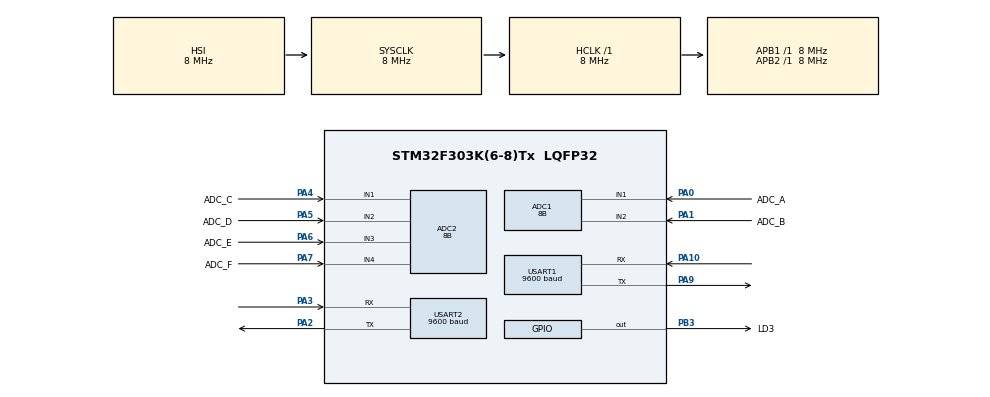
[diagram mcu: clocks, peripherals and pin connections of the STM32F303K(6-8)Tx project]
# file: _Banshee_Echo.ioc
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ADC1.Channel-0\#ChannelRegularConversion=ADC_CHANNEL_1
ADC1.DMAContinuousRequests=ENABLE
ADC1.NbrOfConversionFlag=1
ADC1.Offset-0\#ChannelRegularConversion=0
ADC1.OffsetNumber-0\#ChannelRegularConversion=ADC_OFFSET_NONE
ADC1.Rank-0\#ChannelRegularConversion=1
ADC1.Resolution=ADC_RESOLUTION_8B
ADC1.SamplingTime-0\#ChannelRegularConversion=ADC_SAMPLETIME_1CYCLE_5
ADC1.SubFamily=STM32F303x8
ADC1.master=1
ADC2.Channel-0\#ChannelRegularConversion=ADC_CHANNEL_1
ADC2.DMAContinuousRequests=ENABLE
ADC2.NbrOfConversionFlag=1
ADC2.Offset-0\#ChannelRegularConversion=0
ADC2.OffsetNumber-0\#ChannelRegularConversion=ADC_OFFSET_NONE
ADC2.Rank-0\#ChannelRegularConversion=1
ADC2.Resolution=ADC_RESOLUTION_8B
ADC2.SamplingTime-0\#ChannelRegularConversion=ADC_SAMPLETIME_1CYCLE_5
ADC2.SubFamily=STM32F303x8
Dma.ADC1.2.Direction=DMA_PERIPH_TO_MEMORY
Dma.ADC1.2.Instance=DMA1_Channel1
Dma.ADC1.2.MemDataAlignment=DMA_MDATAALIGN_BYTE
Dma.ADC1.2.MemInc=DMA_MINC_ENABLE
Dma.ADC1.2.Mode=DMA_CIRCULAR
Dma.ADC1.2.PeriphDataAlignment=DMA_PDATAALIGN_BYTE
Dma.ADC1.2.PeriphInc=DMA_PINC_DISABLE
Dma.ADC1.2.Priority=DMA_PRIORITY_LOW
Dma.ADC2.3.Direction=DMA_PERIPH_TO_MEMORY
Dma.ADC2.3.Instance=DMA1_Channel2
Dma.ADC2.3.MemDataAlignment=DMA_MDATAALIGN_HALFWORD
Dma.ADC2.3.MemInc=DMA_MINC_ENABLE
Dma.ADC2.3.Mode=DMA_NORMAL
Dma.ADC2.3.PeriphDataAlignment=DMA_PDATAALIGN_HALFWORD
Dma.ADC2.3.PeriphInc=DMA_PINC_DISABLE
Dma.ADC2.3.Priority=DMA_PRIORITY_LOW
Dma.Request0=USART1_TX
Dma.Request1=USART2_TX
Dma.Request2=ADC1
Dma.Request3=ADC2
Dma.USART1_TX.0.Direction=DMA_MEMORY_TO_PERIPH
Dma.USART1_TX.0.Instance=DMA1_Channel4
Dma.USART1_TX.0.MemDataAlignment=DMA_MDATAALIGN_BYTE
Dma.USART1_TX.0.MemInc=DMA_MINC_ENABLE
Dma.USART1_TX.0.Mode=DMA_CIRCULAR
Dma.USART1_TX.0.PeriphDataAlignment=DMA_PDATAALIGN_BYTE
Dma.USART1_TX.0.PeriphInc=DMA_PINC_DISABLE
Dma.USART1_TX.0.Priority=DMA_PRIORITY_LOW
Dma.USART2_TX.1.Direction=DMA_MEMORY_TO_PERIPH
Dma.USART2_TX.1.Instance=DMA1_Channel7
Dma.USART2_TX.1.MemDataAlignment=DMA_MDATAALIGN_BYTE
Dma.USART2_TX.1.MemInc=DMA_MINC_ENABLE
Dma.USART2_TX.1.Mode=DMA_CIRCULAR
Dma.USART2_TX.1.PeriphDataAlignment=DMA_PDATAALIGN_BYTE
Dma.USART2_TX.1.PeriphInc=DMA_PINC_DISABLE
Dma.USART2_TX.1.Priority=DMA_PRIORITY_LOW
Mcu.Family=STM32F3
Mcu.Name=STM32F303K(6-8)Tx
Mcu.Package=LQFP32
NVIC.DMA1_Channel1_IRQn=true\:0\:0\:false\:false\:true\:false
NVIC.DMA1_Channel2_IRQn=true\:0\:0\:false\:false\:true\:false
NVIC.DMA1_Channel4_IRQn=true\:0\:0\:false\:false\:true\:false
NVIC.DMA1_Channel7_IRQn=true\:0\:0\:false\:false\:true\:false
NVIC.PriorityGroup=NVIC_PRIORITYGROUP_4
NVIC.USART1_IRQn=true\:0\:0\:false\:false\:true\:true
NVIC.USART2_IRQn=true\:0\:0\:false\:false\:true\:true
PA0.GPIO_Label=ADC_A
PA0.Mode=IN1-Single-Ended
PA0.Signal=ADC1_IN1
PA1.GPIO_Label=ADC_B
PA1.Mode=IN2-Single-Ended
PA1.Signal=ADC1_IN2
PA10.Mode=Asynchronous
PA10.Signal=USART1_RX
PA2.Mode=Asynchronous
PA2.Signal=USART2_TX
PA3.Mode=Asynchronous
PA3.Signal=USART2_RX
PA4.GPIO_Label=ADC_C
PA4.Mode=IN1-Single-Ended
PA4.Signal=ADC2_IN1
PA5.GPIO_Label=ADC_D
PA5.Mode=IN2-Single-Ended
PA5.Signal=ADC2_IN2
PA6.GPIO_Label=ADC_E
PA6.Mode=IN3-Single-Ended
PA6.Signal=ADC2_IN3
PA7.GPIO_Label=ADC_F
PA7.Mode=IN4-Single-Ended
PA7.Signal=ADC2_IN4
PA9.Mode=Asynchronous
PA9.Signal=USART1_TX
PB3.GPIO_Label=LD3
PB3.Signal=GPIO_Output
PF0\ /\ OSC_IN.Mode=HSE-External-Oscillator
PF0\ /\ OSC_IN.Signal=RCC_OSC_IN
PF1\ /\ OSC_OUT.Mode=HSE-External-Oscillator
PF1\ /\ OSC_OUT.Signal=RCC_OSC_OUT
ProjectManager.HeapSize=0x200
ProjectManager.StackSize=0x400
ProjectManager.TargetToolchain=TrueSTUDIO
RCC.AHBFreq_Value=8000000
RCC.APB1Freq_Value=8000000
RCC.APB2Freq_Value=8000000
RCC.CortexFreq_Value=8000000
RCC.HSE_VALUE=8000000
RCC.HSI_VALUE=8000000
RCC.PLLMUL=RCC_PLL_MUL4
RCC.PLLSourceVirtual=RCC_PLLSOURCE_HSE
RCC.SYSCLKFreq_VALUE=8000000
USART1.BaudRate=9600
USART1.VirtualMode-Asynchronous=VM_ASYNC
USART1.WordLength=WORDLENGTH_8B
USART2.BaudRate=9600
USART2.VirtualMode-Asynchronous=VM_ASYNC
USART2.WordLength=WORDLENGTH_8B
board=NUCLEO-F303K8

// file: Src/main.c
/**
  ******************************************************************************
  * @file           : main.c
  * @brief          : Main program body
  ******************************************************************************
  ** This notice applies to any and all portions of this file
  * that are not between comment pairs USER CODE BEGIN and
  * USER CODE END. Other portions of this file, whether
  * inserted by the user or by software development tools
  * are owned by their respective copyright owners.
  *
  * COPYRIGHT(c) 2018 STMicroelectronics
  *
  * Redistribution and use in source and binary forms, with or without modification,
  * are permitted provided that the following conditions are met:
  *   1. Redistributions of source code must retain the above copyright notice,
  *      this list of conditions and the following disclaimer.
  *   2. Redistributions in binary form must reproduce the above copyright notice,
  *      this list of conditions and the following disclaimer in the documentation
  *      and/or other materials provided with the distribution.
  *   3. Neither the name of STMicroelectronics nor the names of its contributors
  *      may be used to endorse or promote products derived from this software
  *      without specific prior written permission.
  *
  * THIS SOFTWARE IS PROVIDED BY THE COPYRIGHT HOLDERS AND CONTRIBUTORS "AS IS"
  * AND ANY EXPRESS OR IMPLIED WARRANTIES, INCLUDING, BUT NOT LIMITED TO, THE
  * IMPLIED WARRANTIES OF MERCHANTABILITY AND FITNESS FOR A PARTICULAR PURPOSE ARE
  * DISCLAIMED. IN NO EVENT SHALL THE COPYRIGHT HOLDER OR CONTRIBUTORS BE LIABLE
  * FOR ANY DIRECT, INDIRECT, INCIDENTAL, SPECIAL, EXEMPLARY, OR CONSEQUENTIAL
  * DAMAGES (INCLUDING, BUT NOT LIMITED TO, PROCUREMENT OF SUBSTITUTE GOODS OR
  * SERVICES; LOSS OF USE, DATA, OR PROFITS; OR BUSINESS INTERRUPTION) HOWEVER
  * CAUSED AND ON ANY THEORY OF LIABILITY, WHETHER IN CONTRACT, STRICT LIABILITY,
  * OR TORT (INCLUDING NEGLIGENCE OR OTHERWISE) ARISING IN ANY WAY OUT OF THE USE
  * OF THIS SOFTWARE, EVEN IF ADVISED OF THE POSSIBILITY OF SUCH DAMAGE.
  *
  ******************************************************************************
  */
#include "main.h"
#include "stm32f3xx_hal.h"

/* USER CODE BEGIN Includes */
#include "stdlib.h"
#include "stdio.h"
#include "string.h"
/* USER CODE END Includes */

ADC_HandleTypeDef hadc1;
ADC_HandleTypeDef hadc2;
DMA_HandleTypeDef hdma_adc1;
DMA_HandleTypeDef hdma_adc2;

UART_HandleTypeDef huart1;
UART_HandleTypeDef huart2;
DMA_HandleTypeDef hdma_usart1_tx;
DMA_HandleTypeDef hdma_usart2_tx;

/* USER CODE BEGIN PV */
/* Private variables ---------------------------------------------------------*/
uint8_t buffer[256];
char* generalBuffer = "Hello World!\n\r";
uint16_t len, len2, i;

#define TXRXBUFFERSIZE	100
#define TRUE			1
#define FALSE			0
#define VERBOSE			TRUE
/* USER CODE END PV */

void SystemClock_Config(void);
static void MX_GPIO_Init(void);
static void MX_DMA_Init(void);
static void MX_USART1_UART_Init(void);
static void MX_USART2_UART_Init(void);
static void MX_ADC1_Init(void);
static void MX_ADC2_Init(void);

/* USER CODE BEGIN PFP */
/* Private function prototypes -----------------------------------------------*/
void transmit(int, char*);
void toMsg(char*, char*);
/* USER CODE END PFP */

int main(void)
{

  /* MCU Configuration----------------------------------------------------------*/

  /* Reset of all peripherals, Initializes the Flash interface and the Systick. */
  HAL_Init();

  /* Configure the system clock */
  SystemClock_Config();

  /* Initialize all configured peripherals */
  MX_GPIO_Init();
  MX_DMA_Init();
  MX_USART1_UART_Init();
  MX_USART2_UART_Init();
  MX_ADC1_Init();
  MX_ADC2_Init();
  /* USER CODE BEGIN 2 */
	for (i = 0; i < 256; ++i) {
		buffer[i] = i;
	}
	len = sizeof(buffer);

	//HAL_ADC_Start_DMA(&hadc1, buffer, len);
	//__HAL_UART_ENABLE_IT(&huart1, UART_IT_TC);
	//__HAL_UART_ENABLE_IT(&huart2, UART_IT_TC);

	//HAL_UART_Transmit_DMA(&huart1, buffer, len);
	//HAL_UART_Transmit_DMA(&huart2, buffer, len);

	len2 = sizeof(generalBuffer);
  /* USER CODE END 2 */

  /* Infinite loop */
	while (1) {
		toMsg(generalBuffer, ".");
				transmit(1, generalBuffer);
				transmit(2, generalBuffer);
	}

}

void SystemClock_Config(void)
{

  RCC_OscInitTypeDef RCC_OscInitStruct;
  RCC_ClkInitTypeDef RCC_ClkInitStruct;
  RCC_PeriphCLKInitTypeDef PeriphClkInit;

    /**Initializes the CPU, AHB and APB busses clocks
    */
  RCC_OscInitStruct.OscillatorType = RCC_OSCILLATORTYPE_HSI|RCC_OSCILLATORTYPE_HSE;
  RCC_OscInitStruct.HSEState = RCC_HSE_ON;
  RCC_OscInitStruct.HSEPredivValue = RCC_HSE_PREDIV_DIV1;
  RCC_OscInitStruct.HSIState = RCC_HSI_ON;
  RCC_OscInitStruct.HSICalibrationValue = 16;
  RCC_OscInitStruct.PLL.PLLState = RCC_PLL_ON;
  RCC_OscInitStruct.PLL.PLLSource = RCC_PLLSOURCE_HSE;
  RCC_OscInitStruct.PLL.PLLMUL = RCC_PLL_MUL4;
  if (HAL_RCC_OscConfig(&RCC_OscInitStruct) != HAL_OK)
  {
    _Error_Handler(__FILE__, __LINE__);
  }

    /**Initializes the CPU, AHB and APB busses clocks
    */
  RCC_ClkInitStruct.ClockType = RCC_CLOCKTYPE_HCLK|RCC_CLOCKTYPE_SYSCLK
                              |RCC_CLOCKTYPE_PCLK1|RCC_CLOCKTYPE_PCLK2;
  RCC_ClkInitStruct.SYSCLKSource = RCC_SYSCLKSOURCE_HSI;
  RCC_ClkInitStruct.AHBCLKDivider = RCC_SYSCLK_DIV1;
  RCC_ClkInitStruct.APB1CLKDivider = RCC_HCLK_DIV1;
  RCC_ClkInitStruct.APB2CLKDivider = RCC_HCLK_DIV1;

  if (HAL_RCC_ClockConfig(&RCC_ClkInitStruct, FLASH_LATENCY_0) != HAL_OK)
  {
    _Error_Handler(__FILE__, __LINE__);
  }

  PeriphClkInit.PeriphClockSelection = RCC_PERIPHCLK_USART1|RCC_PERIPHCLK_ADC12;
  PeriphClkInit.Usart1ClockSelection = RCC_USART1CLKSOURCE_PCLK1;
  PeriphClkInit.Adc12ClockSelection = RCC_ADC12PLLCLK_DIV1;
  if (HAL_RCCEx_PeriphCLKConfig(&PeriphClkInit) != HAL_OK)
  {
    _Error_Handler(__FILE__, __LINE__);
  }

    /**Configure the Systick interrupt time
    */
  HAL_SYSTICK_Config(HAL_RCC_GetHCLKFreq()/1000);

    /**Configure the Systick
    */
  HAL_SYSTICK_CLKSourceConfig(SYSTICK_CLKSOURCE_HCLK);

  /* SysTick_IRQn interrupt configuration */
  HAL_NVIC_SetPriority(SysTick_IRQn, 0, 0);
}

/* ADC1 init function */
static void MX_ADC1_Init(void)
{

  ADC_MultiModeTypeDef multimode;
  ADC_ChannelConfTypeDef sConfig;

    /**Common config
    */
  hadc1.Instance = ADC1;
  hadc1.Init.ClockPrescaler = ADC_CLOCK_ASYNC_DIV1;
  hadc1.Init.Resolution = ADC_RESOLUTION_8B;
  hadc1.Init.ScanConvMode = ADC_SCAN_DISABLE;
  hadc1.Init.ContinuousConvMode = DISABLE;
  hadc1.Init.DiscontinuousConvMode = DISABLE;
  hadc1.Init.ExternalTrigConvEdge = ADC_EXTERNALTRIGCONVEDGE_NONE;
  hadc1.Init.ExternalTrigConv = ADC_SOFTWARE_START;
  hadc1.Init.DataAlign = ADC_DATAALIGN_RIGHT;
  hadc1.Init.NbrOfConversion = 1;
  hadc1.Init.DMAContinuousRequests = ENABLE;
  hadc1.Init.EOCSelection = ADC_EOC_SINGLE_CONV;
  hadc1.Init.LowPowerAutoWait = DISABLE;
  hadc1.Init.Overrun = ADC_OVR_DATA_OVERWRITTEN;
  if (HAL_ADC_Init(&hadc1) != HAL_OK)
  {
    _Error_Handler(__FILE__, __LINE__);
  }

    /**Configure the ADC multi-mode
    */
  multimode.Mode = ADC_MODE_INDEPENDENT;
  if (HAL_ADCEx_MultiModeConfigChannel(&hadc1, &multimode) != HAL_OK)
  {
    _Error_Handler(__FILE__, __LINE__);
  }

    /**Configure Regular Channel
    */
  sConfig.Channel = ADC_CHANNEL_1;
  sConfig.Rank = ADC_REGULAR_RANK_1;
  sConfig.SingleDiff = ADC_SINGLE_ENDED;
  sConfig.SamplingTime = ADC_SAMPLETIME_1CYCLE_5;
  sConfig.OffsetNumber = ADC_OFFSET_NONE;
  sConfig.Offset = 0;
  if (HAL_ADC_ConfigChannel(&hadc1, &sConfig) != HAL_OK)
  {
    _Error_Handler(__FILE__, __LINE__);
  }

}

/* ADC2 init function */
static void MX_ADC2_Init(void)
{

  ADC_ChannelConfTypeDef sConfig;

    /**Common config
    */
  hadc2.Instance = ADC2;
  hadc2.Init.ClockPrescaler = ADC_CLOCK_ASYNC_DIV1;
  hadc2.Init.Resolution = ADC_RESOLUTION_8B;
  hadc2.Init.ScanConvMode = ADC_SCAN_DISABLE;
  hadc2.Init.ContinuousConvMode = DISABLE;
  hadc2.Init.DiscontinuousConvMode = DISABLE;
  hadc2.Init.ExternalTrigConvEdge = ADC_EXTERNALTRIGCONVEDGE_NONE;
  hadc2.Init.ExternalTrigConv = ADC_SOFTWARE_START;
  hadc2.Init.DataAlign = ADC_DATAALIGN_RIGHT;
  hadc2.Init.NbrOfConversion = 1;
  hadc2.Init.DMAContinuousRequests = ENABLE;
  hadc2.Init.EOCSelection = ADC_EOC_SINGLE_CONV;
  hadc2.Init.LowPowerAutoWait = DISABLE;
  hadc2.Init.Overrun = ADC_OVR_DATA_OVERWRITTEN;
  if (HAL_ADC_Init(&hadc2) != HAL_OK)
  {
    _Error_Handler(__FILE__, __LINE__);
  }

    /**Configure Regular Channel
    */
  sConfig.Channel = ADC_CHANNEL_1;
  sConfig.Rank = ADC_REGULAR_RANK_1;
  sConfig.SingleDiff = ADC_SINGLE_ENDED;
  sConfig.SamplingTime = ADC_SAMPLETIME_1CYCLE_5;
  sConfig.OffsetNumber = ADC_OFFSET_NONE;
  sConfig.Offset = 0;
  if (HAL_ADC_ConfigChannel(&hadc2, &sConfig) != HAL_OK)
  {
    _Error_Handler(__FILE__, __LINE__);
  }

}

/* USART1 init function */
static void MX_USART1_UART_Init(void)
{

  huart1.Instance = USART1;
  huart1.Init.BaudRate = 9600;
  huart1.Init.WordLength = UART_WORDLENGTH_8B;
  huart1.Init.StopBits = UART_STOPBITS_1;
  huart1.Init.Parity = UART_PARITY_NONE;
  huart1.Init.Mode = UART_MODE_TX_RX;
  huart1.Init.HwFlowCtl = UART_HWCONTROL_NONE;
  huart1.Init.OverSampling = UART_OVERSAMPLING_16;
  huart1.Init.OneBitSampling = UART_ONE_BIT_SAMPLE_DISABLE;
  huart1.AdvancedInit.AdvFeatureInit = UART_ADVFEATURE_NO_INIT;
  if (HAL_UART_Init(&huart1) != HAL_OK)
  {
    _Error_Handler(__FILE__, __LINE__);
  }

}

/* USART2 init function */
static void MX_USART2_UART_Init(void)
{

  huart2.Instance = USART2;
  huart2.Init.BaudRate = 9600;
  huart2.Init.WordLength = UART_WORDLENGTH_8B;
  huart2.Init.StopBits = UART_STOPBITS_1;
  huart2.Init.Parity = UART_PARITY_NONE;
  huart2.Init.Mode = UART_MODE_TX_RX;
  huart2.Init.HwFlowCtl = UART_HWCONTROL_NONE;
  huart2.Init.OverSampling = UART_OVERSAMPLING_16;
  huart2.Init.OneBitSampling = UART_ONE_BIT_SAMPLE_DISABLE;
  huart2.AdvancedInit.AdvFeatureInit = UART_ADVFEATURE_NO_INIT;
  if (HAL_UART_Init(&huart2) != HAL_OK)
  {
    _Error_Handler(__FILE__, __LINE__);
  }

}

static void MX_DMA_Init(void)
{
  /* DMA controller clock enable */
  __HAL_RCC_DMA1_CLK_ENABLE();

  /* DMA interrupt init */
  /* DMA1_Channel1_IRQn interrupt configuration */
  HAL_NVIC_SetPriority(DMA1_Channel1_IRQn, 0, 0);
  HAL_NVIC_EnableIRQ(DMA1_Channel1_IRQn);
  /* DMA1_Channel2_IRQn interrupt configuration */
  HAL_NVIC_SetPriority(DMA1_Channel2_IRQn, 0, 0);
  HAL_NVIC_EnableIRQ(DMA1_Channel2_IRQn);
  /* DMA1_Channel4_IRQn interrupt configuration */
  HAL_NVIC_SetPriority(DMA1_Channel4_IRQn, 0, 0);
  HAL_NVIC_EnableIRQ(DMA1_Channel4_IRQn);
  /* DMA1_Channel7_IRQn interrupt configuration */
  HAL_NVIC_SetPriority(DMA1_Channel7_IRQn, 0, 0);
  HAL_NVIC_EnableIRQ(DMA1_Channel7_IRQn);

}

/** Configure pins as
        * Analog
        * Input
        * Output
        * EVENT_OUT
        * EXTI
*/
static void MX_GPIO_Init(void)
{

  GPIO_InitTypeDef GPIO_InitStruct;

  /* GPIO Ports Clock Enable */
  __HAL_RCC_GPIOF_CLK_ENABLE();
  __HAL_RCC_GPIOA_CLK_ENABLE();
  __HAL_RCC_GPIOB_CLK_ENABLE();

  /*Configure GPIO pin Output Level */
  HAL_GPIO_WritePin(LD3_GPIO_Port, LD3_Pin, GPIO_PIN_RESET);

  /*Configure GPIO pin : LD3_Pin */
  GPIO_InitStruct.Pin = LD3_Pin;
  GPIO_InitStruct.Mode = GPIO_MODE_OUTPUT_PP;
  GPIO_InitStruct.Pull = GPIO_NOPULL;
  GPIO_InitStruct.Speed = GPIO_SPEED_FREQ_LOW;
  HAL_GPIO_Init(LD3_GPIO_Port, &GPIO_InitStruct);

}

/* USER CODE BEGIN 4 */
void transmit(int channel, char* b) {
	UART_HandleTypeDef c;
	if (channel == 1) {
		c = huart1;
	} else {
		c = huart2;
	}

	if (HAL_UART_Transmit(&c, (uint8_t*) b,
	TXRXBUFFERSIZE, 1000) != HAL_OK) {
		Error_Handler();
	}
}

void toMsg(char* b, char* msg) {
	memset(b, 0, TXRXBUFFERSIZE);
	sprintf(b, msg);
	return;
}
/* USER CODE END 4 */

void _Error_Handler(char *file, int line)
{
	while (1) {
	}
}

/************************ (C) COPYRIGHT STMicroelectronics *****END OF FILE****/
